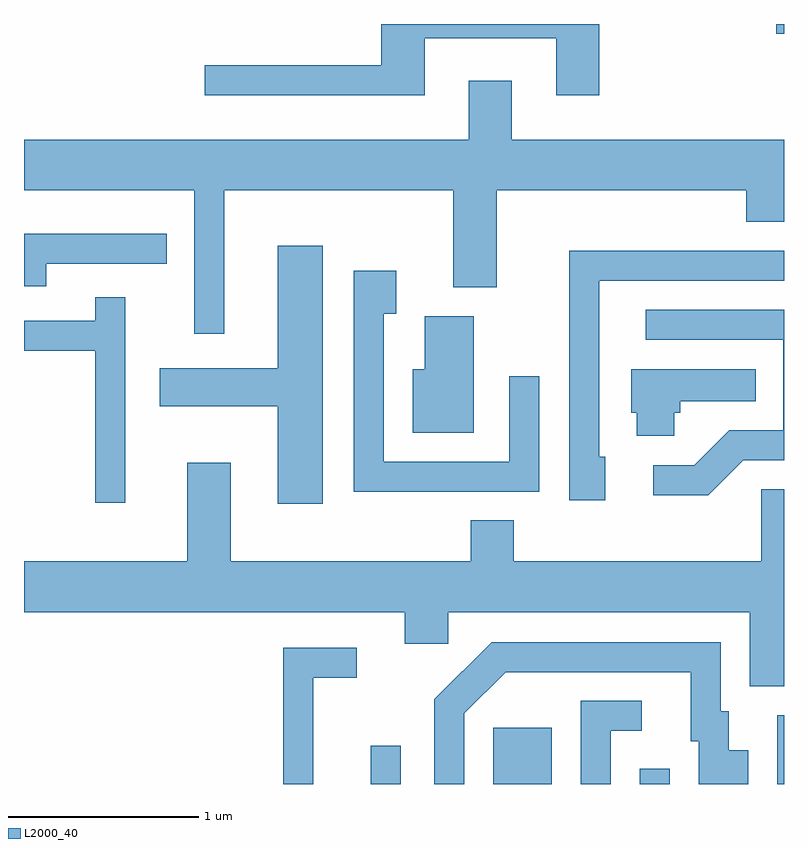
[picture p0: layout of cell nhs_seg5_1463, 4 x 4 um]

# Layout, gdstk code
import gdstk
lib = gdstk.Library(unit=1e-6, precision=1e-09)
def R(c, l, rs):  # rectangles x0, y0, x1, y1
    for r in rs: c.add(gdstk.rectangle(r[:2], r[2:], *l))
def P(c, l, *ps):  # polygons
    for p in ps: c.add(gdstk.Polygon(p, *l))
L2000_40 = (2000, 40)

nhs_seg5_1463 = lib.new_cell('nhs_seg5_1463')
R(nhs_seg5_1463, L2000_40, [(229.436,1498.072,229.594,1498.273), (230.081,1498.072,230.389,1498.369), (230.851,1498.072,231.009,1498.153), (231.576,1498.072,231.611,1498.434), (231.571,1502.021,231.611,1502.072), (229.031,1502.071,229.268,1502.072)])
P(nhs_seg5_1463, L2000_40, [(229.719,1501.996),(230.411,1501.996),(230.411,1501.696),(230.639,1501.696),(230.639,1502.072),(229.491,1502.072),(229.491,1501.854),(228.563,1501.854),(228.563,1501.696),(229.719,1501.696)],
  [(228.664,1501.196),(229.871,1501.196),(229.871,1500.686),(230.099,1500.686),(230.099,1501.196),(231.411,1501.196),(231.411,1501.031),(231.611,1501.031),(231.611,1501.464),(230.179,1501.464),(230.179,1501.774),(229.951,1501.774),(229.951,1501.464),(227.611,1501.464),(227.611,1501.196),(228.506,1501.196),(228.506,1500.443),(228.664,1500.443)],
  [(227.729,1500.811),(228.363,1500.811),(228.363,1500.969),(227.611,1500.969),(227.611,1500.691),(227.729,1500.691)],
  [(229.184,1500.904),(228.946,1500.904),(228.946,1500.259),(228.326,1500.259),(228.326,1500.061),(228.946,1500.061),(228.946,1499.546),(229.184,1499.546)],
  [(230.669,1499.794),(230.639,1499.794),(230.639,1500.721),(231.611,1500.721),(231.611,1500.879),(230.481,1500.879),(230.481,1499.566),(230.669,1499.566)],
  [(230.324,1500.218),(230.166,1500.218),(230.166,1499.769),(229.504,1499.769),(229.504,1500.546),(229.569,1500.546),(229.569,1500.774),(229.346,1500.774),(229.346,1499.611),(230.324,1499.611)],
  [(228.144,1500.633),(227.986,1500.633),(227.986,1500.509),(227.611,1500.509),(227.611,1500.351),(227.986,1500.351),(227.986,1499.553),(228.144,1499.553)],
  [(231.397,1499.776),(231.611,1499.776),(231.611,1500.569),(230.883,1500.569),(230.883,1500.411),(231.606,1500.411),(231.606,1499.934),(231.324,1499.934),(231.139,1499.749),(230.923,1499.749),(230.923,1499.591),(231.212,1499.591)],
  [(229.979,1500.534),(229.721,1500.534),(229.721,1500.254),(229.656,1500.254),(229.656,1499.921),(229.979,1499.921)],
  [(231.034,1500.026),(231.064,1500.026),(231.064,1500.086),(231.463,1500.086),(231.463,1500.254),(230.806,1500.254),(230.806,1500.026),(230.836,1500.026),(230.836,1499.906),(231.034,1499.906)],
  [(231.611,1499.624),(231.491,1499.624),(231.491,1499.244),(230.189,1499.244),(230.189,1499.459),(229.961,1499.459),(229.961,1499.244),(228.699,1499.244),(228.699,1499.764),(228.471,1499.764),(228.471,1499.244),(227.611,1499.244),(227.611,1498.976),(229.616,1498.976),(229.616,1498.811),(229.844,1498.811),(229.844,1498.976),(231.431,1498.976),(231.431,1498.586),(231.611,1498.586)],
  [(229.929,1498.444),(230.147,1498.661),(231.121,1498.661),(231.121,1498.296),(231.161,1498.296),(231.161,1498.072),(231.424,1498.072),(231.424,1498.249),(231.319,1498.249),(231.319,1498.454),(231.279,1498.454),(231.279,1498.819),(230.074,1498.819),(229.771,1498.517),(229.771,1498.072),(229.929,1498.072)],
  [(229.134,1498.631),(229.363,1498.631),(229.363,1498.789),(228.976,1498.789),(228.976,1498.072),(229.134,1498.072)],
  [(230.699,1498.351),(230.863,1498.351),(230.863,1498.509),(230.541,1498.509),(230.541,1498.072),(230.699,1498.072)])

lib.write_gds('nhs_seg5_1463.gds')
